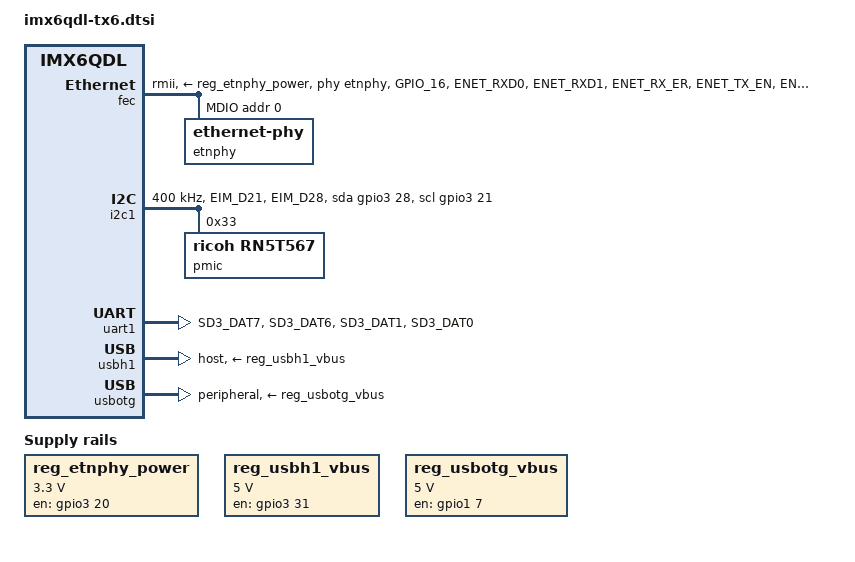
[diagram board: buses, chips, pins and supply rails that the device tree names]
// SPDX-License-Identifier: GPL-2.0+
/*
 * Copyright (C) 2026 Ka-Ro Electronics GmbH
 * TX6 module common part; shadows dts/upstream's imx6qdl-tx6.dtsi.
 */

#include <dt-bindings/gpio/gpio.h>

/ {
	chosen {
		stdout-path = &uart1;
	};

	/*
	 * The LAN8710 3V3 rail is switched by GPIO3_IO20 on the module.
	 * Without this supply the PHY stays unpowered in U-Boot and MDIO
	 * reads nothing: "Could not get PHY for FEC0: addr 0".
	 */
	reg_etnphy_power: regulator-etnphy-power {
		compatible = "regulator-fixed";
		regulator-name = "3V3_ETN";
		regulator-min-microvolt = <3300000>;
		regulator-max-microvolt = <3300000>;
		pinctrl-names = "default";
		pinctrl-0 = <&pinctrl_etnphy_power>;
		gpio = <&gpio3 20 GPIO_ACTIVE_HIGH>;
		enable-active-high;
		regulator-boot-on;
		regulator-always-on;
	};

	reg_usbh1_vbus: regulator-usbh1-vbus {
		compatible = "regulator-fixed";
		regulator-name = "usbh1_vbus";
		regulator-min-microvolt = <5000000>;
		regulator-max-microvolt = <5000000>;
		pinctrl-names = "default";
		pinctrl-0 = <&pinctrl_usbh1_vbus>;
		gpio = <&gpio3 31 GPIO_ACTIVE_HIGH>;
		enable-active-high;
	};

	reg_usbotg_vbus: regulator-usbotg-vbus {
		compatible = "regulator-fixed";
		regulator-name = "usbotg_vbus";
		regulator-min-microvolt = <5000000>;
		regulator-max-microvolt = <5000000>;
		pinctrl-names = "default";
		pinctrl-0 = <&pinctrl_usbotg_vbus>;
		gpio = <&gpio1 7 GPIO_ACTIVE_HIGH>;
		enable-active-high;
	};
};

&fec {
	pinctrl-names = "default";
	pinctrl-0 = <&pinctrl_enet>;
	phy-mode = "rmii";
	phy-supply = <&reg_etnphy_power>;
	phy-reset-gpios = <&gpio7 6 GPIO_ACTIVE_LOW>;
	phy-reset-duration = <25>;
	phy-reset-post-delay = <22>;
	phy-handle = <&etnphy>;
	status = "okay";

	mdio {
		#address-cells = <1>;
		#size-cells = <0>;

		etnphy: ethernet-phy@0 {
			reg = <0>;
		};
	};
};

&i2c1 {
	/* bus recovery as in kernel 038ab100c3d0 */
	pinctrl-names = "default", "gpio";
	pinctrl-0 = <&pinctrl_i2c1>;
	pinctrl-1 = <&pinctrl_i2c1_gpio>;
	scl-gpios = <&gpio3 21 GPIO_ACTIVE_HIGH>;
	sda-gpios = <&gpio3 28 GPIO_ACTIVE_HIGH>;
	clock-frequency = <400000>;
	status = "okay";

	pmic: pmic@33 {
		compatible = "ricoh,rn5t567";
		reg = <0x33>;
		/* PMIC setup in power_init_board() */
	};
};

&uart1 {
	pinctrl-names = "default";
	pinctrl-0 = <&pinctrl_uart1 &pinctrl_uart1_rtscts>;
	status = "okay";
};

&usbh1 {
	dr_mode = "host";
	vbus-supply = <&reg_usbh1_vbus>;
	status = "okay";
};

&usbotg {
	dr_mode = "peripheral";
	vbus-supply = <&reg_usbotg_vbus>;
	status = "okay";
};

&iomuxc {
	pinctrl_enet: enetgrp {
		fsl,pins = <
			/* drive strengths from baf66ec0074 (EMC) */
			MX6QDL_PAD_GPIO_16__ENET_REF_CLK	0x4000b018 /* SION loops the clock back */
			MX6QDL_PAD_ENET_RXD0__ENET_RX_DATA0	0x1b0b0
			MX6QDL_PAD_ENET_RXD1__ENET_RX_DATA1	0x1b0b0
			MX6QDL_PAD_ENET_RX_ER__ENET_RX_ER	0x100b0 /* PHYAD0 strap: no pull */
			MX6QDL_PAD_ENET_TX_EN__ENET_TX_EN	0x1b0b0
			MX6QDL_PAD_ENET_TXD0__ENET_TX_DATA0	0x1b0b0
			MX6QDL_PAD_ENET_TXD1__ENET_TX_DATA1	0x1b0b0
			MX6QDL_PAD_ENET_CRS_DV__ENET_RX_EN	0x1b0b0
			MX6QDL_PAD_ENET_MDC__ENET_MDC		0x1b0b0
			MX6QDL_PAD_ENET_MDIO__ENET_MDIO		0x1b0b0
			MX6QDL_PAD_SD3_DAT2__GPIO7_IO06		0x1b0b1 /* ETN PHY RESET */
		>;
	};

	pinctrl_etnphy_power: etnphypwrgrp {
		fsl,pins = <
			MX6QDL_PAD_EIM_D20__GPIO3_IO20		0x1b0b1 /* ETN PHY POWER */
		>;
	};

	pinctrl_i2c1: i2c1grp {
		fsl,pins = <
			MX6QDL_PAD_EIM_D21__I2C1_SCL		0x4001b8b1
			MX6QDL_PAD_EIM_D28__I2C1_SDA		0x4001b8b1
		>;
	};

	pinctrl_i2c1_gpio: i2c1-gpiogrp {
		fsl,pins = <
			MX6QDL_PAD_EIM_D21__GPIO3_IO21		0x4001b8b1
			MX6QDL_PAD_EIM_D28__GPIO3_IO28		0x4001b8b1
		>;
	};

	pinctrl_lcd_backlight: lcdblgrp {
		fsl,pins = <
			MX6QDL_PAD_GPIO_1__GPIO1_IO01		0x1b0b1
		>;
	};

	pinctrl_lcd_pwr: lcdpwrgrp {
		fsl,pins = <
			MX6QDL_PAD_EIM_EB3__GPIO2_IO31		0x1b0b1
		>;
	};

	pinctrl_lcd_rst: lcdrstgrp {
		fsl,pins = <
			MX6QDL_PAD_EIM_D29__GPIO3_IO29		0x1b0b1
		>;
	};

	pinctrl_uart1: uart1grp {
		fsl,pins = <
			MX6QDL_PAD_SD3_DAT7__UART1_TX_DATA	0x1b0b1
			MX6QDL_PAD_SD3_DAT6__UART1_RX_DATA	0x1b0b1
		>;
	};

	pinctrl_uart1_rtscts: uart1-rtsctsgrp {
		fsl,pins = <
			MX6QDL_PAD_SD3_DAT1__UART1_RTS_B	0x1b0b1
			MX6QDL_PAD_SD3_DAT0__UART1_CTS_B	0x1b0b1
		>;
	};

	pinctrl_usbh1_vbus: usbh1vbusgrp {
		fsl,pins = <
			MX6QDL_PAD_EIM_D31__GPIO3_IO31		0x1b0b0
		>;
	};

	pinctrl_usbotg_vbus: usbotgvbusgrp {
		fsl,pins = <
			MX6QDL_PAD_GPIO_7__GPIO1_IO07		0x1b0b0
		>;
	};
};
